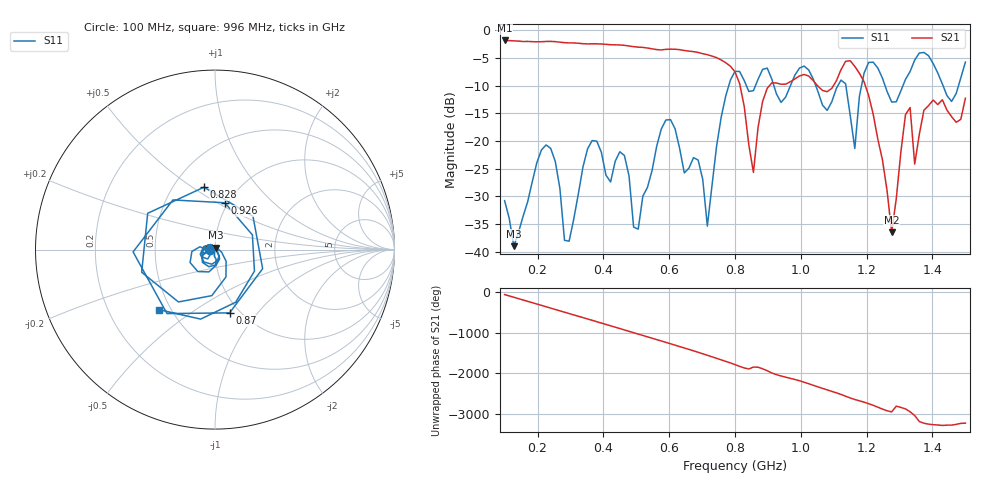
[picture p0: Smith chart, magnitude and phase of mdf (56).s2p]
! NanoVNA-App
! Date: 2025-09-25 15:38:52
! Start: 100MHz Stop: 1,5GHz Points: 101
! S-Parameter data: F S11 S21 S12 S22
# Hz S RI R 50
!  Frequency  S11_Real  S11_Imag  S21_Real  S21_Imag  S12_Real  S12_Imag  S22_Real  S22_Imag
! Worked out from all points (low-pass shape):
!   101 points, 100 MHz to 1.5 GHz, reference 50 ohm
!   highest |S21| = -1.80 dB at 100 MHz (marker M1); lowest = -36.5 dB at 1.276 GHz (marker M2)
!   |S21| within 3 dB of the highest: start of sweep to 738.9 MHz
!   lowest |S11| = -39.0 dB at 128 MHz (marker M3), VSWR 1.02, Z = 50.3 + j1.08 ohm
!   |S11| at or under -10 dB: start of sweep to 780.9 MHz; 918.2 MHz to 968.2 MHz (49.98 MHz wide, 5.3 % of centre); 1.045 GHz to 1.112 GHz (66.91 MHz wide, 6.2 % of centre) (the widest 3 of 7)
!   S12 and S22 are empty: the file has one direction only
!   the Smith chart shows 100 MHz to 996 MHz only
!   S11 on the Smith chart (normalised r, x): 100 MHz: 0.94, -0.01; 828 MHz: 0.70, +0.56; 870 MHz: 0.90, -0.73; 926 MHz: 0.97, +0.54; 996 MHz: 0.43, -0.37
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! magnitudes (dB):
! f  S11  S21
! 100 MHz  -30.8  -1.8
! 128 MHz  -39.0  -1.9
! 212 MHz  -21.6  -2.0
! 282 MHz  -37.9  -2.2
! 338 MHz  -24.7  -2.4
! 464 MHz  -22.6  -2.7
! 506 MHz  -35.9  -3.0
! 576 MHz  -17.8  -3.5
! 716 MHz  -35.3  -4.4
! 800 MHz  -7.4  -7.5
! 828 MHz  -9.0  -13.7
! 856 MHz  -10.9  -25.7
! 870 MHz  -8.8  -17.5
! 926 MHz  -11.5  -9.5
! 996 MHz  -6.8  -8.2
! 1.038 GHz  -8.8  -9.1
! 1.164 GHz  -21.3  -6.5
! 1.192 GHz  -7.7  -9.3
! 1.276 GHz  -12.9  -36.5
! 1.318 GHz  -8.8  -15.2
! 1.346 GHz  -5.3  -24.1
! 1.5 GHz  -5.7  -12.2
